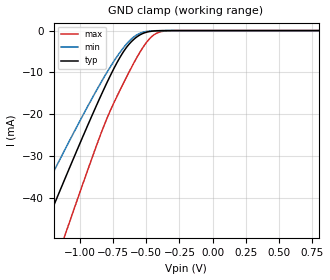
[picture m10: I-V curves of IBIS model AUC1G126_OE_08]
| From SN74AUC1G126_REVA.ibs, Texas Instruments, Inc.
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[Model]   AUC1G126_OE_08
Model_type  Input
Vinl=0.28
Vinh=0.52
| variable   typ   min   max
C_comp   2.25pF   1.89pF   2.71pF
[Temperature Range]   40   100   -40
| Ambient temperature   25   85   -40
[Voltage range]   0.8   0.8   0.8
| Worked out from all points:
|   GND clamp passes 1 mA (typ) near -0.55 V on its own axis
[GND Clamp]
| AUC1G126_OE_08
|   Voltage   I(typ)   I(min)   I(max)
-3.6V     -230.2mA   -193.8mA   -275.4mA
-1.425V   -59.36mA   -48.11mA   -77.64mA
-1.285V   -48.54mA   -39.18mA   -64.76mA
-1.12V    -35.95mA   -28.87mA   -49.59mA
-1.08V    -32.93mA   -26.41mA   -45.92mA
-830mV    -14.72mA   -11.79mA   -23.67mA
-695mV    -6.225mA   -5.059mA   -14.06mA
-580mV    -1.731mA   -1.206mA   -6.949mA
-510mV    -504.5uA   -274.2uA   -3.327mA
-450mV    -123.7uA   -60.43uA   -1.212mA
-320mV    -2.85uA    -1.768uA   -25.53uA
800mV     96.17pA    180.2pA    76.88pA
